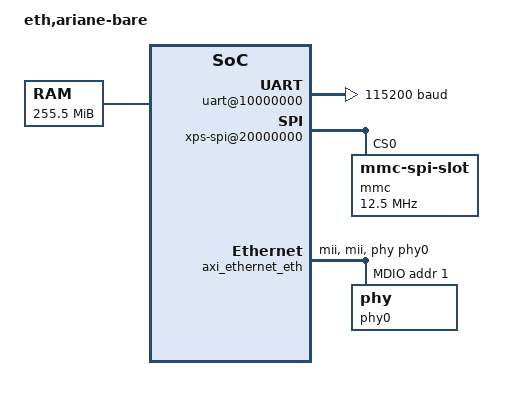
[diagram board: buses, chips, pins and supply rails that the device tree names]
/dts-v1/;

/ {
  #address-cells = <2>;
  #size-cells = <2>;
  compatible = "eth,ariane-bare-dev";
  model = "eth,ariane-bare";
  chosen {
    bootargs = "console=ttyS0,115200 earlycon=sbi";
    stdout-path = "/soc/uart@10000000:115200";
    //tick-timer =  "/cpus/cpu@0";
  };
  cpus {
    #address-cells = <1>;
    #size-cells = <0>;
    timebase-frequency = <12500000>; // 12.5 MHz
    CPU0: cpu@0 {
      clock-frequency = <25000000>; // 25 MHz
      device_type = "cpu";
      reg = <0>;
      status = "okay";
      compatible = "eth, ariane", "riscv";
      riscv,isa = "rv64imac";
      mmu-type = "riscv,sv39";
      tlb-split;
      // HLIC - hart local interrupt controller
      CPU0_intc: interrupt-controller {
        #interrupt-cells = <1>;
        interrupt-controller;
        compatible = "riscv,cpu-intc";
      };
    };
  };

  clocks {
		#address-cells = <0x01>;
		#size-cells = <0x00>;

		clk_cpu {
			#clock-cells = <0x00>;
			clock-frequency = <25000000>;
			compatible = "fixed-clock";
		};

		axi_clk: clk_bus_0 {
			#clock-cells = <0x00>;
			clock-frequency = <25000000>;
			compatible = "fixed-clock";
			phandle = <0x01>;
		};
	};
  
  memory@80000000 {
    device_type = "memory";
    reg = <0x0 0x80000000 0x0 0x0FF80000>;
  };
 
  L26: soc {
    #address-cells = <2>;
    #size-cells = <2>;
    compatible = "eth,ariane-bare-soc", "simple-bus";
    ranges;
  
    clint@2000000 {
      compatible = "riscv,clint0";
      interrupts-extended = <&CPU0_intc 3 &CPU0_intc 7>;
      reg = <0x0 0x2000000 0x0 0xc0000>;
      reg-names = "control";
    };
    
    PLIC0: interrupt-controller@c000000 {
      #interrupt-cells = <1>;
      compatible = "riscv,plic0";
      interrupt-controller;
      interrupts-extended = <&CPU0_intc 11 &CPU0_intc 9>;
      reg = <0x0 0xc000000 0x0 0x4000000>;
      riscv,max-priority = <7>;
      riscv,ndev = <30>;
    };

    

    
    uart@10000000 {
      compatible = "ns16750", "ns16550";
      reg = <0x0 0x10000000 0x0 0x10000>;
      device_type = "serial";
      clock-frequency = <25000000>;
      current-speed = <115200>;
      interrupt-parent = <&PLIC0>;
      interrupts = <9 4>;
      reg-shift = <2>; // regs are spaced on 32 bit boundary
      reg-io-width = <4>; // only 32-bit access are supported
      fifo-size = <16>;
    };
    timer@18000000 {
      compatible = "pulp,apb_timer";
      interrupts = <0x00000004 0x00000005 0x00000006 0x00000007>;
      reg = <0x0 0x18000000 0x0 0x00001000>;
      interrupt-parent = <&PLIC0>;
      pulp,clock-period-ns = <40>;
      reg-names = "control";
    };
    xps-spi@20000000 {
      compatible = "xlnx,axi-quad-spi-3.2", "xlnx,xps-spi-2.00.a";
      interrupt-parent = <&PLIC0>;
      interrupts = <8 4>;
      reg = <0x0 0x20000000 0x0 0x10000>;
      fifo-size = <256>;
      xlnx,family = "kintex7";
      xlnx,fifo-exist = <0x1>;
      xlnx,num-ss-bits = <0x1>;
      xlnx,num-transfer-bits = <0x8>;
      xlnx,sck-ratio = <0x4>;

      mmc@0 {
        #address-cells = <1>;
				#size-cells = <0>;
        compatible = "mmc-spi-slot";
        reg = <0>;
        spi-max-frequency = <12500000>;
        voltage-ranges = <3300 3300>;
        disable-wp;
      };
    };

    axi_ethernet_eth: ethernet@40E00000 {
      compatible = "xlnx,xps-ethernetlite-3.00.a", "xlnx,xps-ethernetlite-1.00.a";
      device_type = "network";
      interrupt-parent = <&PLIC0>;
      interrupts = <12 0x4>;
      clocks = <&axi_clk>;
      reg = <0x0 0x40E00000 0x0 0x10000>;
      local-mac-address = [00 0a 35 00 00 01];
      xlnx,duplex = <0x1>;
      xlnx,include-global-buffers = <0x1>;
      xlnx,include-internal-loopback = <0x0>;
      xlnx,include-mdio = <0x1>;
      xlnx,instance = "axi_ethernetlite_inst";
      xlnx,rx-ping-pong = <0x1>;
      xlnx,s-axi-id-width = <0x1>;
      xlnx,tx-ping-pong = <0x1>;
      xlnx,use-internal = <0x0>;
 
      phy-handle = <&phy0>;
      phy-mode = "mii";
      phy-connection-type = "mii";

      axi_ethernetlite_0_mdio: mdio {
        #address-cells = <1>;
        #size-cells = <0>;
        phy0: phy@0 {
          device_type = "ethernet-phy";
          reg = <1>;
        };
      };
    };


    rom: axi_bram_ctrl@00010000 {
            compatible = "xlnx,axi-bram-ctrl-4.1";
            reg = <0x0 0x00010000 0x0 0x10000>;
            xlnx,bram-addr-width = <0x0a>;
            xlnx,bram-inst-mode = "EXTERNAL";
            xlnx,ecc = <0x00>;
            xlnx,ecc-onoff-reset-value = <0x00>;
            xlnx,ecc-type = <0x00>;
            xlnx,fault-inject = <0x00>;
            xlnx,memory-depth = <0x400>;
            xlnx,rd-cmd-optimization = <0x00>;
            xlnx,read-latency = <0x01>;
            xlnx,s-axi-ctrl-addr-width = <0x20>;
            xlnx,s-axi-ctrl-data-width = <0x20>;
            xlnx,s-axi-id-width = <0x0e>;
            xlnx,s-axi-supports-narrow-burst = <0x01>;
            xlnx,single-port-bram = <0x01>;
            status="disabled";
        };
  };
};
